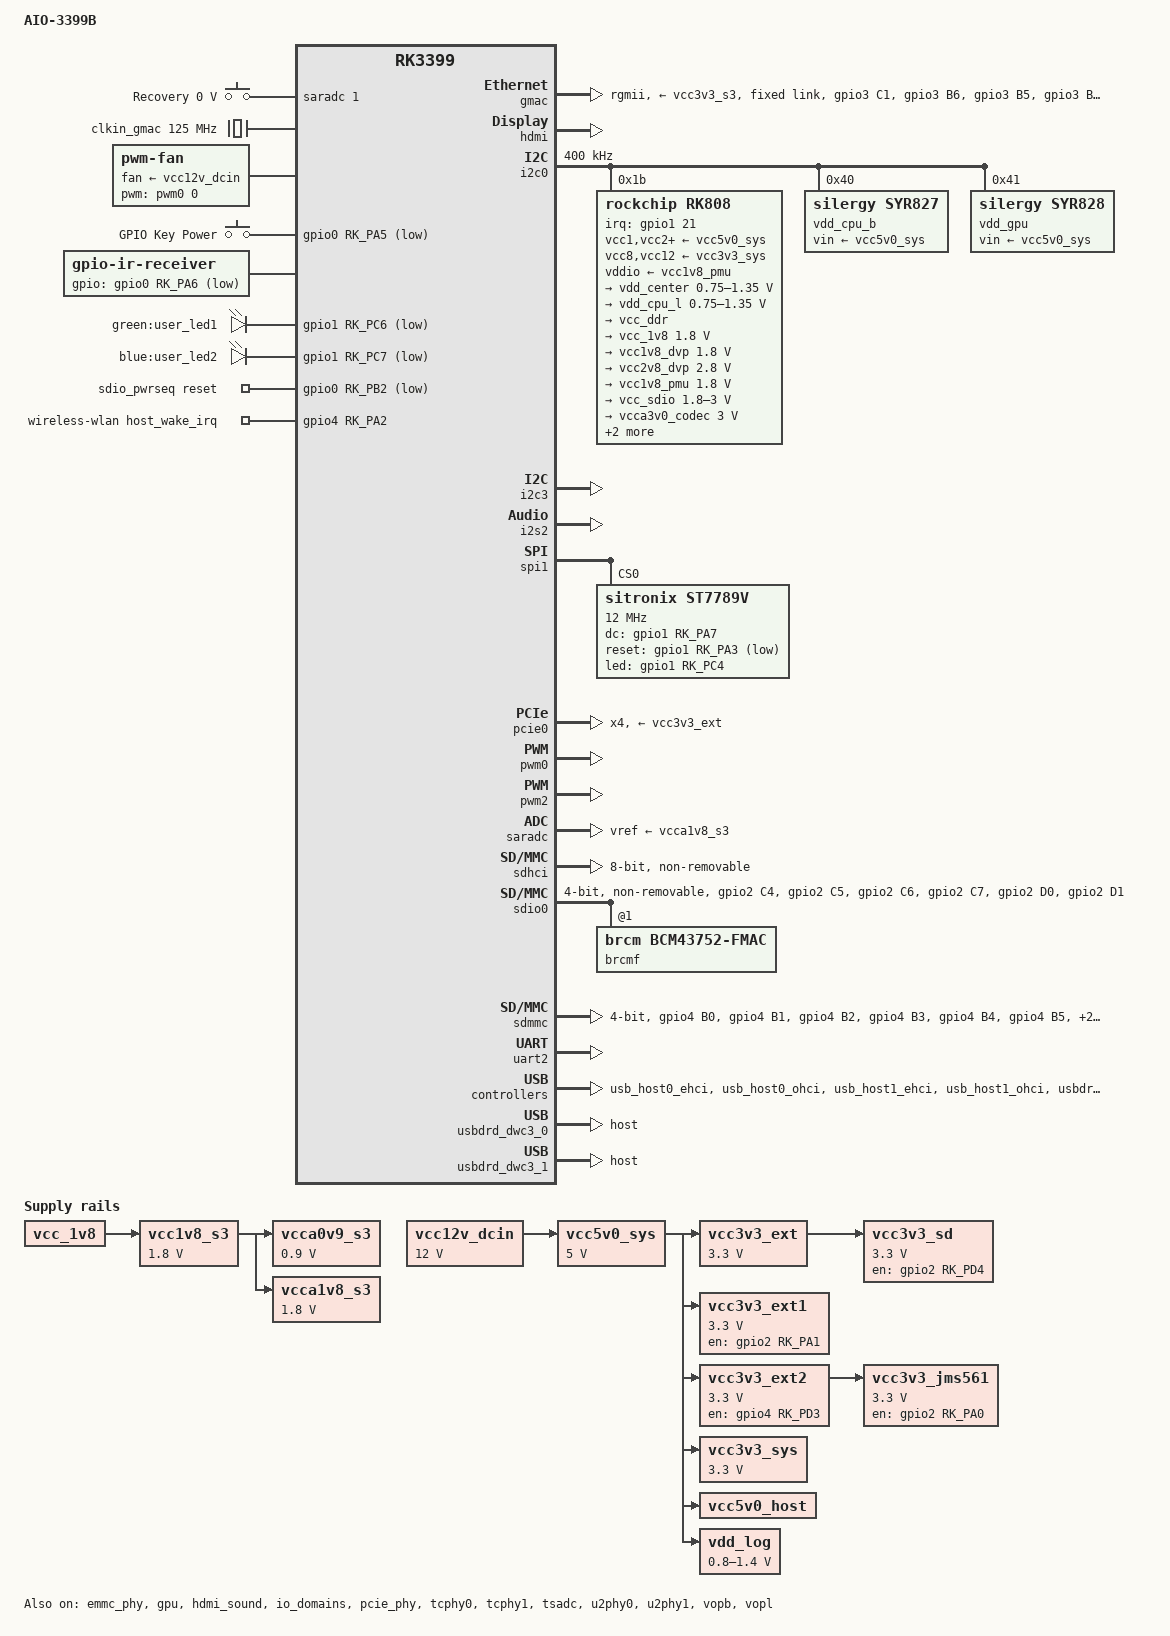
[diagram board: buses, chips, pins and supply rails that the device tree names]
// SPDX-License-Identifier: (GPL-2.0 OR MIT)

/dts-v1/;
#include <dt-bindings/input/linux-event-codes.h>
#include "rk3399.dtsi"
#include "rk3399-op1-opp.dtsi"

/ {
	model = "AIO-3399B";
	compatible = "aio,aio-3399b", "rockchip,rk3399";

	reserved-memory {
		#address-cells = <2>;
		#size-cells = <2>;
		ranges;

		drm_logo: drm-logo@00000000 {
			compatible = "rockchip,drm-logo";
			reg = <0x0 0x0 0x0 0x0>;
		};

		ramoops: ramoops@110000 {
			compatible = "ramoops";
			reg = <0x0 0x110000 0x0 0xf0000>;
			record-size = <0x20000>;
			console-size = <0x80000>;
			ftrace-size = <0x00000>;
			pmsg-size = <0x50000>;
		};
	};

	aliases {
		led-boot = &user_led1;
		led-failsafe = &user_led2;
		led-running = &user_led1;
		led-upgrade = &user_led2;
		mmc0 = &sdio0;
		mmc1 = &sdmmc;
		mmc2 = &sdhci;
		spi1 = &spi1;
	};

	chosen {
		stdout-path = "serial2:1500000n8";
	};

	adc-keys {
		compatible = "adc-keys";
		io-channels = <&saradc 1>;
		io-channel-names = "buttons";
		keyup-threshold-microvolt = <1750000>;
		poll-interval = <100>;

		recovery {
			label = "Recovery";
			linux,code = <KEY_VENDOR>;
			press-threshold-microvolt = <0>;
		};
	};

	clkin_gmac: external-gmac-clock {
		compatible = "fixed-clock";
		clock-frequency = <125000000>;
		clock-output-names = "clkin_gmac";
		#clock-cells = <0>;
	};

	fan: pwm-fan {
		compatible = "pwm-fan";
		#cooling-cells = <2>;
		fan-supply = <&vcc12v_dcin>;
		pwms = <&pwm0 0 10000 0>;
		cooling-levels = <0 75 100 150 200 255>;
		//rockchip,temp-trips = <40000 1 45000 2 50000 3 55000 4 60000 5>;
		status = "okay";
	};

	gpio-keys {
		compatible = "gpio-keys";
		autorepeat;
		pinctrl-names = "default";
		pinctrl-0 = <&power_key>;
		#address-cells = <1>;
		#size-cells = <0>;

		power {
			debounce-interval = <100>;
			gpios = <&gpio0 RK_PA5 GPIO_ACTIVE_LOW>;
			label = "GPIO Key Power";
			linux,code = <KEY_POWER>;
			wakeup-source;
		};
	};
	
	ir-receiver {
		compatible = "gpio-ir-receiver";
		gpios = <&gpio0 RK_PA6 GPIO_ACTIVE_LOW>;
		pinctrl-0 = <&ir_int>;
		pinctrl-names = "default";
	};

	leds: gpio-leds {
		compatible = "gpio-leds";
		pinctrl-names = "default";
		pinctrl-0 = <&user_led1_pin>, <&user_led2_pin>;

		user_led1: user-led1 {
			gpios = <&gpio1 RK_PC6 GPIO_ACTIVE_LOW>;
			label = "green:user_led1";
		};

		user_led2: user-led2 {
			gpios = <&gpio1 RK_PC7 GPIO_ACTIVE_LOW>;
			label = "blue:user_led2";
		};
	};

	sdio_pwrseq: sdio-pwrseq {
		compatible = "mmc-pwrseq-simple";
		clocks = <&rk808 1>;
		clock-names = "ext_clock";
		pinctrl-names = "default";
		pinctrl-0 = <&wifi_reg_on_h>;
		reset-gpios = <&gpio0 RK_PB2 GPIO_ACTIVE_LOW>;
		post-power-on-delay-ms = <300>;
	};

	/*
	 * Really, this is supplied by vcc_1v8, and vcc1v8_s3 only
	 * drives the enable pin, but we can't quite model that.
	 */
	vcca0v9_s3: vcca0v9-s3 {
		compatible = "regulator-fixed";
		regulator-min-microvolt = <900000>;
		regulator-max-microvolt = <900000>;
		regulator-name = "vcca0v9_s3";
		vin-supply = <&vcc1v8_s3>;
	};

	/* As above, actually supplied by vcc3v3_sys */
	vcca1v8_s3: vcca1v8-s3 {
		compatible = "regulator-fixed";
		regulator-min-microvolt = <1800000>;
		regulator-max-microvolt = <1800000>;
		regulator-name = "vcca1v8_s3";
		vin-supply = <&vcc1v8_s3>;
	};

	vcc12v_dcin: vcc12v-dcin {
		compatible = "regulator-fixed";
		regulator-name = "vcc12v-dcin";
		regulator-always-on;
		regulator-boot-on;
		regulator-min-microvolt = <12000000>;
		regulator-max-microvolt = <12000000>;
	};

	vcc3v3_ext: vcc3v3-ext {
		compatible = "regulator-fixed";
		regulator-always-on;
		regulator-boot-on;
		regulator-min-microvolt = <3300000>;
		regulator-max-microvolt = <3300000>;
		regulator-name = "vcc3v3_ext";
		vin-supply = <&vcc5v0_sys>;
	};

	vcc3v3_ext1: vcc3v3-ext1 {
		compatible = "regulator-fixed";
		regulator-always-on;
		regulator-boot-on;
		enable-active-high;
		gpio = <&gpio2 RK_PA1 GPIO_ACTIVE_HIGH>;
		pinctrl-names = "default";
		pinctrl-0 = <&ext_pon_switch_wifi>;
		regulator-min-microvolt = <3300000>;
		regulator-max-microvolt = <3300000>;
		regulator-name = "vcc3v3_ext1";
		vin-supply = <&vcc5v0_sys>;
	};

	vcc3v3_ext2: vcc3v3-ext2 {
		compatible = "regulator-fixed";
		regulator-always-on;
		regulator-boot-on;
		enable-active-high;
		gpio = <&gpio4 RK_PD3 GPIO_ACTIVE_HIGH>;
		pinctrl-names = "default";
		pinctrl-0 = <&ext_jms561_m2>;
		regulator-min-microvolt = <3300000>;
		regulator-max-microvolt = <3300000>;
		regulator-name = "vcc3v3_ext2";
		vin-supply = <&vcc5v0_sys>;
	};

	vcc3v3_sys: vcc3v3-sys {
		compatible = "regulator-fixed";
		regulator-always-on;
		regulator-boot-on;
		regulator-min-microvolt = <3300000>;
		regulator-max-microvolt = <3300000>;
		regulator-name = "vcc3v3_sys";
		vin-supply = <&vcc5v0_sys>;
	};

	vcc5v0_sys: vcc5v0-sys {
		compatible = "regulator-fixed";
		regulator-always-on;
		regulator-boot-on;
		regulator-min-microvolt = <5000000>;
		regulator-max-microvolt = <5000000>;
		regulator-name = "vcc5v0_sys";
		vin-supply = <&vcc12v_dcin>;
	};

	/* switched by pmic_sleep */
	vcc1v8_s3: vcc1v8-s3 {
		compatible = "regulator-fixed";
		regulator-always-on;
		regulator-boot-on;
		regulator-min-microvolt = <1800000>;
		regulator-max-microvolt = <1800000>;
		regulator-name = "vcc1v8_s3";
		vin-supply = <&vcc_1v8>;
	};

	vcc3v3_sd: vcc3v3-sd {
		compatible = "regulator-fixed";
		enable-active-high;
		gpio = <&gpio2 RK_PD4 GPIO_ACTIVE_HIGH>;
		pinctrl-names = "default";
		pinctrl-0 = <&sdmmc0_pwr_h>;
		regulator-always-on;
		regulator-min-microvolt = <3300000>;
		regulator-max-microvolt = <3300000>;
		regulator-name = "vcc3v3_sd";
		vin-supply = <&vcc3v3_ext>;
	};

	vcc3v3_jms561: vcc3v3-jms561 {
		compatible = "regulator-fixed";
		enable-active-high;
		gpio = <&gpio2 RK_PA0 GPIO_ACTIVE_HIGH>;
		pinctrl-names = "default";
		pinctrl-0 = <&jms561_pw>;
		startup-delay-us = <200000>;
		regulator-always-on;
		regulator-min-microvolt = <3300000>;
		regulator-max-microvolt = <3300000>;
		regulator-name = "vcc3v3_jms561";
		vin-supply = <&vcc3v3_ext2>;
	};

	vcc5v0_host: vcc5v0-host-regulator {
		compatible = "regulator-fixed";
		regulator-name = "vcc5v0_host";
		regulator-always-on;
		vin-supply = <&vcc5v0_sys>;
	};

	vdd_log: vdd-log {
		compatible = "pwm-regulator";
		pwms = <&pwm2 0 25000 1>;
		regulator-name = "vdd_log";
		regulator-always-on;
		regulator-boot-on;
		regulator-min-microvolt = <800000>;
		regulator-max-microvolt = <1400000>;
		vin-supply = <&vcc5v0_sys>;

		/* for rockchip boot on */
		rockchip,pwm_id= <2>;
		rockchip,pwm_voltage = <1000000>;

	};

	wireless-wlan {
		compatible = "wlan-platdata";
		rockchip,grf = <&grf>;
		pinctrl-names = "default";
		pinctrl-0 = <&wifi_host_wake_l>;
		wifi_chip_type = "ap6275s";
		WIFI,host_wake_irq = <&gpio4 RK_PA2 GPIO_ACTIVE_HIGH>;
		status = "okay";
	};

	rtl8367s {
		compatible = "realtek,rtl8367s";
		cpu_port = <7>;
		mii-bus = <&mdio0>;
		realtek,extif1 = <1 0 12 1 1 1 1 1 4>;	//rtl8367b_extif_init_of
		realtek,extif2 = <1 3 1 1 1 1 1 1 2>;
	};
};

&cpu_thermal {
		trips {
				cpu_cool: cpu_cool {
						temperature = <38000>;
						hysteresis = <2000>;
						type = "active";
				};
				cpu_normal: cpu_normal {
						temperature = <43000>;
						hysteresis = <2000>;
						type = "active";
				};
				cpu_warm: cpu_warm {
						temperature = <46000>;
						hysteresis = <2000>;
						type = "active";
				};
				cpu_hot: cpu_hot {
						temperature = <48000>;
						hysteresis = <2000>;
						type = "active";
				};
				cpu_max: cpu_max {
						temperature = <50000>;
						hysteresis = <2000>;
						type = "active";
				};
		};
		cooling-maps {
				map2 {
						trip = <&cpu_cool>;
						cooling-device = <&fan 0 1>;
				};
				map3 {
						trip = <&cpu_normal>;
						cooling-device = <&fan 1 2>;
				};
				map4 {
						trip = <&cpu_warm>;
						cooling-device = <&fan 2 3>;
				};
				map5 {
						trip = <&cpu_hot>;
						cooling-device = <&fan 3 4>;
				};
				map6 {
						trip = <&cpu_max>;
						cooling-device = <&fan 4 5>;
				};
		};
};

&cpu_b0 {
	cpu-supply = <&vdd_cpu_b>;
};

&cpu_b1 {
	cpu-supply = <&vdd_cpu_b>;
};

&cpu_l0 {
	cpu-supply = <&vdd_cpu_l>;
};

&cpu_l1 {
	cpu-supply = <&vdd_cpu_l>;
};

&cpu_l2 {
	cpu-supply = <&vdd_cpu_l>;
};

&cpu_l3 {
	cpu-supply = <&vdd_cpu_l>;
};

&emmc_phy {
	status = "okay";
};

&gmac {
	assigned-clocks = <&cru SCLK_RMII_SRC>;
	assigned-clock-parents = <&cru SCLK_MAC>;
	assigned-clock-rates = <125000000>;
	clock_in_out = "output";
	phy-mode = "rgmii";
	phy-supply = <&vcc3v3_s3>;
	pinctrl-names = "default";
	pinctrl-0 = <&rgmii_pins>;
	snps,reset-gpio = <&gpio3 RK_PB7 GPIO_ACTIVE_LOW>;
	snps,reset-active-low;
	snps,reset-delays-us = <0 10000 50000>;
	tx_delay = <0x28>;
	rx_delay = <0x11>;
	status = "okay";

	fixed-link {
		speed = <1000>;
		full-duplex;
	};

	mdio0: mdio {
		compatible = "snps,dwmac-mdio";
		#address-cells = <1>;
		#size-cells = <0>;
	};
};

&gpu {
	mali-supply = <&vdd_gpu>;
	status = "okay";
};

&hdmi {
	ddc-i2c-bus = <&i2c3>;
	pinctrl-names = "default";
	pinctrl-0 = <&hdmi_cec>;
	status = "okay";
};

&hdmi_sound {
	status = "okay";
};

// Let hdmi port support 4k@60fps.
&hdmi_in_vopl {
	status = "disabled";
};

&i2c0 {
	clock-frequency = <400000>;
	i2c-scl-rising-time-ns = <168>;
	i2c-scl-falling-time-ns = <4>;
	status = "okay";

	rk808: pmic@1b {
		compatible = "rockchip,rk808";
		reg = <0x1b>;
		#clock-cells = <1>;
		clock-output-names = "xin32k", "rk808-clkout2";
		interrupt-parent = <&gpio1>;
		interrupts = <21 IRQ_TYPE_LEVEL_LOW>;
		pinctrl-names = "default";
		pinctrl-0 = <&pmic_int_l>;
		rockchip,system-power-controller;
		wakeup-source;

		vcc1-supply = <&vcc5v0_sys>;
		vcc2-supply = <&vcc5v0_sys>;
		vcc3-supply = <&vcc5v0_sys>;
		vcc4-supply = <&vcc5v0_sys>;
		vcc6-supply = <&vcc5v0_sys>;
		vcc7-supply = <&vcc5v0_sys>;
		vcc8-supply = <&vcc3v3_sys>;
		vcc9-supply = <&vcc5v0_sys>;
		vcc10-supply = <&vcc5v0_sys>;
		vcc11-supply = <&vcc5v0_sys>;
		vcc12-supply = <&vcc3v3_sys>;
		vddio-supply = <&vcc1v8_pmu>;

		regulators {
			vdd_center: DCDC_REG1 {
				regulator-always-on;
				regulator-boot-on;
				regulator-min-microvolt = <750000>;
				regulator-max-microvolt = <1350000>;
				regulator-name = "vdd_center";
				regulator-ramp-delay = <6001>;

				regulator-state-mem {
					regulator-off-in-suspend;
				};
			};

			vdd_cpu_l: DCDC_REG2 {
				regulator-always-on;
				regulator-boot-on;
				regulator-min-microvolt = <750000>;
				regulator-max-microvolt = <1350000>;
				regulator-name = "vdd_cpu_l";
				regulator-ramp-delay = <6001>;

				regulator-state-mem {
					regulator-off-in-suspend;
				};
			};

			vcc_ddr: DCDC_REG3 {
				regulator-always-on;
				regulator-boot-on;
				regulator-name = "vcc_ddr";

				regulator-state-mem {
					regulator-on-in-suspend;
				};
			};

			vcc_1v8: DCDC_REG4 {
				regulator-always-on;
				regulator-boot-on;
				regulator-min-microvolt = <1800000>;
				regulator-max-microvolt = <1800000>;
				regulator-name = "vcc_1v8";

				regulator-state-mem {
					regulator-on-in-suspend;
					regulator-suspend-microvolt = <1800000>;
				};
			};

			vcc1v8_dvp: LDO_REG1 {
				regulator-always-on;
				regulator-boot-on;
				regulator-min-microvolt = <1800000>;
				regulator-max-microvolt = <1800000>;
				regulator-name = "vcc1v8_dvp";

				regulator-state-mem {
					regulator-off-in-suspend;
				};
			};

			vcc2v8_dvp: LDO_REG2 {
				regulator-always-on;
				regulator-boot-on;
				regulator-min-microvolt = <2800000>;
				regulator-max-microvolt = <2800000>;
				regulator-name = "vcc2v8_dvp";

				regulator-state-mem {
					regulator-off-in-suspend;
				};
			};

			vcc1v8_pmu: LDO_REG3 {
				regulator-always-on;
				regulator-boot-on;
				regulator-min-microvolt = <1800000>;
				regulator-max-microvolt = <1800000>;
				regulator-name = "vcc1v8_pmu";

				regulator-state-mem {
					regulator-on-in-suspend;
					regulator-suspend-microvolt = <1800000>;
				};
			};

			vcc_sdio: LDO_REG4 {
				regulator-always-on;
				regulator-boot-on;
				regulator-min-microvolt = <1800000>;
				regulator-max-microvolt = <3000000>;
				regulator-name = "vcc_sdio";

				regulator-state-mem {
					regulator-on-in-suspend;
					regulator-suspend-microvolt = <3000000>;
				};
			};

			vcca3v0_codec: LDO_REG5 {
				regulator-always-on;
				regulator-boot-on;
				regulator-min-microvolt = <3000000>;
				regulator-max-microvolt = <3000000>;
				regulator-name = "vcca3v0_codec";

				regulator-state-mem {
					regulator-off-in-suspend;
				};
			};

			vcc_1v5: LDO_REG6 {
				regulator-always-on;
				regulator-boot-on;
				regulator-min-microvolt = <1500000>;
				regulator-max-microvolt = <1500000>;
				regulator-name = "vcc_1v5";

				regulator-state-mem {
					regulator-on-in-suspend;
					regulator-suspend-microvolt = <1500000>;
				};
			};

			vcca1v8_codec: LDO_REG7 {
				regulator-always-on;
				regulator-boot-on;
				regulator-min-microvolt = <1800000>;
				regulator-max-microvolt = <1800000>;
				regulator-name = "vcca1v8_codec";

				regulator-state-mem {
					regulator-off-in-suspend;
				};
			};

			vcc_3v0: LDO_REG8 {
				regulator-always-on;
				regulator-boot-on;
				regulator-min-microvolt = <3000000>;
				regulator-max-microvolt = <3000000>;
				regulator-name = "vcc_3v0";

				regulator-state-mem {
					regulator-on-in-suspend;
					regulator-suspend-microvolt = <3000000>;
				};
			};

			vcc3v3_s3: SWITCH_REG1 {
				regulator-always-on;
				regulator-boot-on;
				regulator-name = "vcc3v3_s3";

				regulator-state-mem {
					regulator-off-in-suspend;
				};
			};

			vcc3v3_s0: SWITCH_REG2 {
				regulator-always-on;
				regulator-boot-on;
				regulator-name = "vcc3v3_s0";

				regulator-state-mem {
					regulator-off-in-suspend;
				};
			};
		};
	};

	vdd_cpu_b: regulator@40 {
		compatible = "silergy,syr827";
		reg = <0x40>;
		fcs,suspend-voltage-selector = <1>;
		pinctrl-names = "default";
		pinctrl-0 = <&cpu_b_sleep>;
		regulator-always-on;
		regulator-boot-on;
		regulator-min-microvolt = <712500>;
		regulator-max-microvolt = <1500000>;
		regulator-name = "vdd_cpu_b";
		regulator-ramp-delay = <1000>;
		vin-supply = <&vcc5v0_sys>;

		regulator-state-mem {
			regulator-off-in-suspend;
		};
	};

	vdd_gpu: regulator@41 {
		compatible = "silergy,syr828";
		reg = <0x41>;
		fcs,suspend-voltage-selector = <1>;
		pinctrl-names = "default";
		pinctrl-0 = <&gpu_sleep>;
		regulator-always-on;
		regulator-boot-on;
		regulator-min-microvolt = <712500>;
		regulator-max-microvolt = <1500000>;
		regulator-name = "vdd_gpu";
		regulator-ramp-delay = <1000>;
		vin-supply = <&vcc5v0_sys>;

		regulator-state-mem {
			regulator-off-in-suspend;
		};
	};
};

&i2c3 {
	i2c-scl-rising-time-ns = <450>;
	i2c-scl-falling-time-ns = <15>;
	status = "okay";	//hdmi_cec
};

&i2s2 {
	status = "okay";	//hdmi_sound
};

&spi1 {
	status = "okay";	//lcd pannel
	pinctrl-names = "default";
	pinctrl-0 = <&spi1_clk &spi1_tx &spi1_cs0>;
	//cs-gpios = <&gpio1 RK_PB2 GPIO_ACTIVE_HIGH>; /*SPI-CS:PC3 and PA6*/

	st7789v@0 {
		status = "okay";
		compatible = "sitronix,st7789v";
		reg = <0>;
		spi-max-frequency = <12000000>;
		rgb;
		fps = <30>;
		rotate = <90>;
		buswidth = <8>;
		dc-gpios = <&gpio1 RK_PA7 GPIO_ACTIVE_HIGH>;
		reset-gpios = <&gpio1 RK_PA3 GPIO_ACTIVE_LOW>;
		led-gpios = <&gpio1 RK_PC4 GPIO_ACTIVE_HIGH>;
		debug = <0>; //等级0～7 越高信息越多
	};
};

&io_domains {
	status = "okay";

	bt656-supply = <&vcc1v8_dvp>;
	audio-supply = <&vcca1v8_codec>;
	sdmmc-supply = <&vcc_sdio>;
	gpio1830-supply = <&vcc_3v0>;
};

&pcie_phy {
	assigned-clock-parents = <&cru SCLK_PCIEPHY_REF100M>;
	assigned-clock-rates = <100000000>;
	assigned-clocks = <&cru SCLK_PCIEPHY_REF>;
	status = "okay";
};

&pcie0 {
	ep-gpios = <&gpio4 RK_PD1 GPIO_ACTIVE_HIGH>;
	num-lanes = <4>;
	max-link-speed = <2>;
	status = "okay";
	vpcie0v9-supply = <&vcca0v9_s3>;
	vpcie1v8-supply = <&vcca1v8_s3>;
	vpcie3v3-supply = <&vcc3v3_ext>;
};

&pinctrl {
	buttons {
		power_key: power_key {
			rockchip,pins =
				<0 RK_PA5 RK_FUNC_GPIO &pcfg_pull_up>;
		};
	};

	gmac { //13 16 19 22 26
		rgmii_pins: rgmii-pins {
			rockchip,pins =
				/* mac_txclk */
				<3 RK_PC1 1 &pcfg_pull_none_19ma>,
				/* mac_rxclk */
				<3 RK_PB6 1 &pcfg_pull_none>,
				/* mac_mdio */
				<3 RK_PB5 1 &pcfg_pull_none>,
				/* mac_txen */
				<3 RK_PB4 1 &pcfg_pull_none_26ma>,
				/* mac_clk */
				<3 RK_PB3 1 &pcfg_pull_none>,
				/* mac_rxdv */
				<3 RK_PB1 1 &pcfg_pull_none>,
				/* mac_mdc */
				<3 RK_PB0 1 &pcfg_pull_none>,
				/* mac_rxd1 */
				<3 RK_PA7 1 &pcfg_pull_none>,
				/* mac_rxd0 */
				<3 RK_PA6 1 &pcfg_pull_none>,
				/* mac_txd1 */
				<3 RK_PA5 1 &pcfg_pull_none_26ma>,
				/* mac_txd0 */
				<3 RK_PA4 1 &pcfg_pull_none_26ma>,
				/* mac_rxd3 */
				<3 RK_PA3 1 &pcfg_pull_none>,
				/* mac_rxd2 */
				<3 RK_PA2 1 &pcfg_pull_none>,
				/* mac_txd3 */
				<3 RK_PA1 1 &pcfg_pull_none_26ma>,
				/* mac_txd2 */
				<3 RK_PA0 1 &pcfg_pull_none_26ma>;
		};
	};

	ir {
		ir_int: ir-int {
			rockchip,pins = <0 RK_PA6 RK_FUNC_GPIO &pcfg_pull_none>;
		};
	};

	power_ext{
		ext_pon_switch_wifi: ext-pon-switch-wifi {
			rockchip,pins = <2 RK_PA1 RK_FUNC_GPIO &pcfg_pull_none>;
		};
		ext_jms561_m2: ext-jms561-m2 {
			rockchip,pins = <4 RK_PD3 RK_FUNC_GPIO &pcfg_pull_none>;
		};
		jms561_pw: jms561-pw {
			rockchip,pins = <2 RK_PA0 RK_FUNC_GPIO &pcfg_pull_none>;
		};
	};

	leds {
		user_led1_pin: user-led1-pin {
			rockchip,pins =
				<1 RK_PC6 RK_FUNC_GPIO &pcfg_pull_none>;
		};

		user_led2_pin: user-led2-pin {
			rockchip,pins =
				<1 RK_PC7 RK_FUNC_GPIO &pcfg_pull_none>;
		};
	};

	pcfg_pull_none_16ma: pcfg-pull-none-16ma {
		bias-disable;
		drive-strength = <16>;
	};

	pcfg_pull_none_19ma: pcfg-pull-none-19ma {
		bias-disable;
		drive-strength = <19>;
	};

	pcfg_pull_none_26ma: pcfg-pull-none-26ma {
		bias-disable;
		drive-strength = <26>;
	};

	pcfg_pull_up_15ma: pcfg-pull-up_15ma {
		bias-pull-up;
		drive-strength = <15>;
	};

	pcfg_pull_none_15ma: pcfg-pull-none-15ma {
		bias-disable;
		drive-strength = <15>;
	};

	pcfg_pull_up_16ma: pcfg-pull-up_16ma {
		bias-pull-up;
		drive-strength = <16>;
	};

	pmic {
		cpu_b_sleep: cpu-b-sleep {
			rockchip,pins =
				<1 RK_PC2 RK_FUNC_GPIO &pcfg_pull_down>;
		};

		gpu_sleep: gpu-sleep {
			rockchip,pins =
				<1 RK_PB6 RK_FUNC_GPIO &pcfg_pull_down>;
		};

		pmic_int_l: pmic-int-l {
			rockchip,pins =
				<1 RK_PC5 RK_FUNC_GPIO &pcfg_pull_up>;
		};
	};

	sdmmc {		//4 6 8 10 12 14 16 18
		sdmmc_bus1: sdmmc-bus1 {
			rockchip,pins =
				<4 RK_PB0 1 &pcfg_pull_up>;
		};

		sdmmc_bus4: sdmmc-bus4 {
			rockchip,pins =
				<4 RK_PB0 1 &pcfg_pull_up_16ma>,
				<4 RK_PB1 1 &pcfg_pull_up_16ma>,
				<4 RK_PB2 1 &pcfg_pull_up_16ma>,
				<4 RK_PB3 1 &pcfg_pull_up_16ma>;
		};

		sdmmc_clk: sdmmc-clk {
			rockchip,pins =
				<4 RK_PB4 1 &pcfg_pull_none_16ma>;
		};

		sdmmc_cmd: sdmmc-cmd {
			rockchip,pins =
				<4 RK_PB5 1 &pcfg_pull_up_16ma>;
		};

		sdmmc_cd: sdmmc-cd {
			rockchip,pins =
				<0 RK_PA7 1 &pcfg_pull_up>;
		};

		sdmmc_wp: sdmmc-wp {
			rockchip,pins =
				<0 RK_PB0 1 &pcfg_pull_up>;
		};
	};

	sdio {
		bt_host_wake_l: bt-host-wake-l {
			rockchip,pins =
				<0 RK_PA4 RK_FUNC_GPIO &pcfg_pull_none>;
		};

		bt_reg_on_h: bt-reg-on-h {
			/* external pullup to VCC1V8_PMUPLL */
			rockchip,pins =
				<0 RK_PB1 RK_FUNC_GPIO &pcfg_pull_none>;
		};

		bt_wake_l: bt-wake-l {
			rockchip,pins =
				<2 RK_PD2 RK_FUNC_GPIO &pcfg_pull_none>;
		};

		wifi_reg_on_h: wifi-reg_on-h {
			rockchip,pins =
				<0 RK_PB2 RK_FUNC_GPIO &pcfg_pull_none>;
		};
	};

	sdio0 {			//5;10;15;20
		sdio0_bus1: sdio0-bus1 {
			rockchip,pins =
				<2 RK_PC4 1 &pcfg_pull_up>;
		};

		sdio0_bus4: sdio0-bus4 {
			rockchip,pins =
				<2 RK_PC4 1 &pcfg_pull_up_15ma>,
				<2 RK_PC5 1 &pcfg_pull_up_15ma>,
				<2 RK_PC6 1 &pcfg_pull_up_15ma>,
				<2 RK_PC7 1 &pcfg_pull_up_15ma>;
		};

		sdio0_cmd: sdio0-cmd {
			rockchip,pins =
				<2 RK_PD0 1 &pcfg_pull_up_15ma>;
		};

		sdio0_clk: sdio0-clk {
			rockchip,pins =
				<2 RK_PD1 1 &pcfg_pull_none_15ma>;
		};

		sdio0_cd: sdio0-cd {
			rockchip,pins =
				<2 RK_PD2 1 &pcfg_pull_up>;
		};

		sdio0_pwr: sdio0-pwr {
			rockchip,pins =
				<2 RK_PD3 1 &pcfg_pull_up>;
		};

		sdio0_bkpwr: sdio0-bkpwr {
				rockchip,pins =
					<2 RK_PD4 1 &pcfg_pull_up>;
		};

		sdio0_wp: sdio0-wp {
			rockchip,pins =
				<0 RK_PA3 1 &pcfg_pull_up>;
		};

		sdio0_int: sdio0-int {
			rockchip,pins =
				<0 RK_PA4 1 &pcfg_pull_up>;
		};
	};

	sdio-pwrseq {
		wifi_host_wake_l: wifi-host-wake-l {
			rockchip,pins = 
				<0 RK_PA3 RK_FUNC_GPIO &pcfg_pull_none>;
		};
	};

	sdmmc {
		sdmmc0_det_l: sdmmc0-det-l {
			rockchip,pins = 
				<0 RK_PA7 RK_FUNC_GPIO &pcfg_pull_up>;
		};

		sdmmc0_pwr_h: sdmmc0-pwr-h {
			rockchip,pins = 
				<2 RK_PD4 RK_FUNC_GPIO &pcfg_pull_none>;
		};
	};
};

&pmu_io_domains {
	status = "okay";
	pmu1830-supply = <&vcc_3v0>;
};

&pwm0 {
	status = "okay";
};

&pwm2 {
	status = "okay";	//vdd_log
};

&saradc {
	status = "okay";
	vref-supply = <&vcca1v8_s3>;
};

&sdhci {
	bus-width = <8>;
	mmc-hs400-1_8v;
	mmc-hs400-enhanced-strobe;
	non-removable;
	status = "okay";
};

&sdio0 {
	bus-width = <4>;
	//clock-frequency = <50000000>;
	cap-sdio-irq;
	supports-sdio;
	cap-sd-highspeed;
	keep-power-in-suspend;
	mmc-pwrseq = <&sdio_pwrseq>;
	non-removable;
	pinctrl-names = "default";
	pinctrl-0 = <&sdio0_bus4 &sdio0_cmd &sdio0_clk>;
	sd-uhs-sdr104;
	#address-cells = <1>;
	#size-cells = <0>;
	status = "okay";

	brcmf: wifi@1 {
		compatible = "brcm,bcm43752-fmac","brcm,bcm4359-fmac","marvell,sd8897";
		reg = <1>;
		pinctrl-names = "default";
		pinctrl-0 = <&wifi_host_wake_l>;
	};
};

&sdmmc {
	bus-width = <4>;
	cap-mmc-highspeed;
	cap-sd-highspeed;
	cd-gpios = <&gpio0 RK_PA7 GPIO_ACTIVE_LOW>;
	disable-wp;
	cap-sdio-irq;
	pinctrl-names = "default";
	pinctrl-0 = <&sdmmc_bus4 &sdmmc_clk &sdmmc_cmd &sdmmc0_det_l>;
	status = "okay";
	//vmmc-supply = <&vcc3v3_sd>;
	vqmmc-supply = <&vcc3v3_sd>;
};

&tcphy0 {
	status = "okay";
};

&tcphy1 {
	status = "okay";
};

&tsadc {
	/* tshut mode 0:CRU 1:GPIO */
	rockchip,hw-tshut-mode = <1>;
	/* tshut polarity 0:LOW 1:HIGH */
	rockchip,hw-tshut-polarity = <1>;
	status = "okay";
};

&u2phy0 {
	status = "okay";

	u2phy0_otg: otg-port {
		status = "okay";
	};

	u2phy0_host: host-port {
		phy-supply = <&vcc5v0_host>;
		status = "okay";
	};
};

&u2phy1 {
	status = "okay";

	u2phy1_otg: otg-port {
		status = "okay";
	};

	u2phy1_host: host-port {
		phy-supply = <&vcc5v0_host>;
		status = "okay";
	};
};

&uart0 {
	pinctrl-names = "default";
	pinctrl-0 = <&uart0_xfer &uart0_rts &uart0_cts>;
	status = "disabled";
};

&uart2 {
	status = "okay";	//ttl
};

&usb_host0_ehci {
	status = "okay";
};

&usb_host0_ohci {
	status = "okay";
};

&usb_host1_ehci {
	status = "okay";
};

&usb_host1_ohci {
	status = "okay";
};

&usbdrd3_0 {
	status = "okay";
};

&usbdrd_dwc3_0 {
	snps,parkmode-disable-ss-quirk;
	snps,dis_rxdet_inp3_quirk;
	status = "okay";
	dr_mode = "host";
};

&usbdrd3_1 {
	status = "okay";
};

&usbdrd_dwc3_1 {
	snps,parkmode-disable-ss-quirk;
	snps,dis_rxdet_inp3_quirk;
	status = "okay";
	dr_mode = "host";
};

&vopb {
	status = "okay";
};

&vopb_mmu {
	status = "okay";
};

&vopl {
	status = "okay";
};

&vopl_mmu {
	status = "okay";
};
